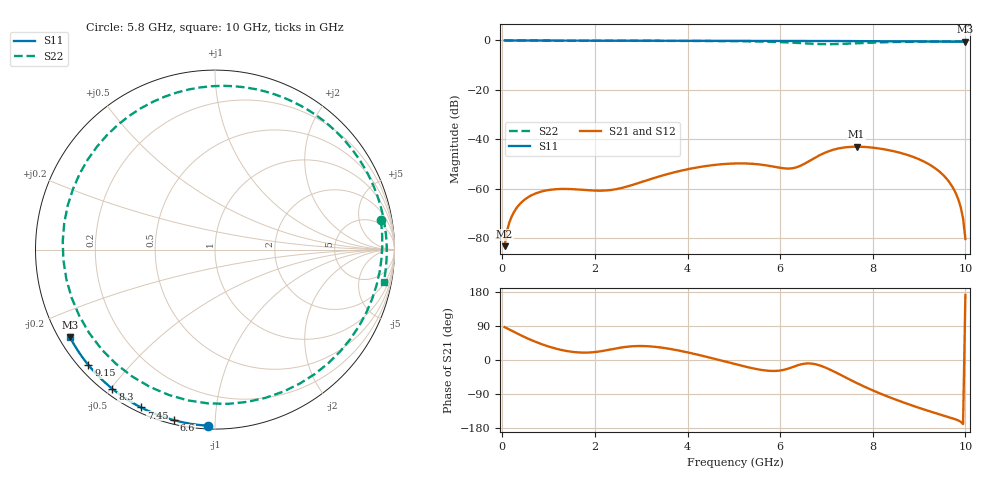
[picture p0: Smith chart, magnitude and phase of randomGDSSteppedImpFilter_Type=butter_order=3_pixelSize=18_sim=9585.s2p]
! freq	dB(S11)	phase(S11)	dB(S12)	phase(S12)
!  dB(S21)	phase(S21)	dB(S22)	phase(S22)
!S-par simulation data
#  GHz  S  DB  R 50
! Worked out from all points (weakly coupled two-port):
!   200 points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, 50 MHz to 10 GHz, reference 50 ohm
!   highest |S21| = -43.00 dB at 7.65 GHz (marker M1); lowest = -83.2 dB at 50 MHz (marker M2)
!   lowest |S11| = -0.5 dB at 10 GHz (marker M3), VSWR 34.68, Z = 1.55 - j13.9 ohm
!   |S11| at or under -10 dB: nowhere
!   |S22| runs from -1.5 to 0.0 dB; largest |S21 - S12| = 0
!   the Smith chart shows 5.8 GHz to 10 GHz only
!   S11 on the Smith chart (normalised r, x): 5.8 GHz: 0.02, -0.96; 6.6 GHz: 0.02, -0.79; 7.45 GHz: 0.02, -0.64; 8.3 GHz: 0.02, -0.50; 9.15 GHz: 0.03, -0.39; 10 GHz: 0.03, -0.28
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0.05  -0.00 -0.9  -83.24 86.7  -83.24 86.7  -0.00 -5.6
0.3  -0.01 -5.2  -68.01 71.1  -68.01 71.1  -0.05 -32.8
0.8  -0.02 -13.7  -61.38 44.1  -61.38 44.1  -0.09 -81.1
1.3  -0.03 -22.2  -60.08 25.9  -60.08 25.9  -0.11 -119.2
1.75  -0.04 -29.7  -60.46 19.5  -60.46 19.5  -0.12 -146.5
2.5  -0.05 -42.1  -60.02 31.5  -60.02 31.5  -0.13 176.5
3.4  -0.08 -56.5  -54.96 33.3  -54.96 33.3  -0.16 137.9
4.3  -0.10 -70.4  -51.09 11.7  -51.09 11.7  -0.21 98.8
5.05  -0.13 -81.5  -49.76 -11.5  -49.76 -11.5  -0.31 60.8
5.8  -0.16 -92.3  -50.86 -28.8  -50.86 -28.8  -0.55 10.0
6.2  -0.18 -98.0  -51.82 -21.6  -51.82 -21.6  -0.83 -27.9
6.6  -0.20 -103.5  -49.11 -9.0  -49.11 -9.0  -1.24 -78.1
6.7  -0.20 -104.9  -48.01 -9.8  -48.01 -9.8  -1.33 -92.6
7.1  -0.23 -110.3  -44.50 -26.7  -44.50 -26.7  -1.50 -154.0
7.45  -0.25 -115.1  -43.17 -48.4  -43.17 -48.4  -1.31 156.9
7.65  -0.27 -117.7  -43.00 -60.6  -43.00 -60.6  -1.14 133.2
8.3  -0.32 -126.4  -44.22 -95.4  -44.22 -95.4  -0.70 75.8
8.35  -0.33 -127.1  -44.41 -97.7  -44.41 -97.7  -0.68 72.3
9.15  -0.40 -137.6  -49.43 -132.3  -49.43 -132.3  -0.44 26.0
9.75  -0.47 -145.5  -60.22 -155.1  -60.22 -155.1  -0.38 -0.9
9.9  -0.49 -147.5  -67.55 -163.2  -67.55 -163.2  -0.38 -7.0
10  -0.50 -148.9  -80.33 171.7  -80.33 171.7  -0.38 -11.0
